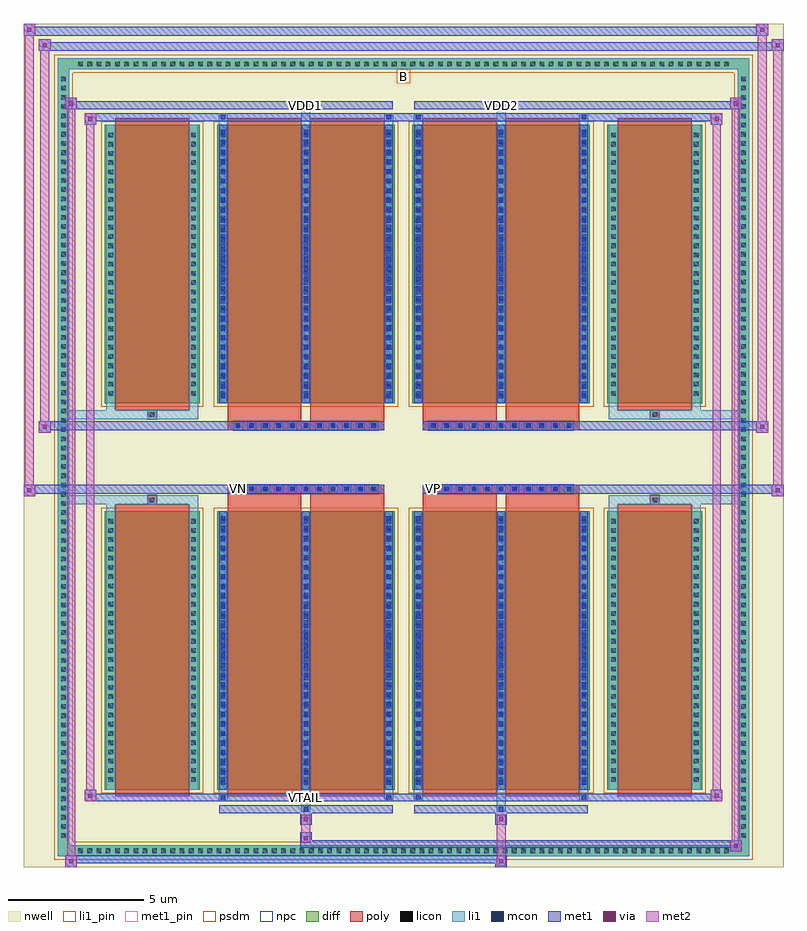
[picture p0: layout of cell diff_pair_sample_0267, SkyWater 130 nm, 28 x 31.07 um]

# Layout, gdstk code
import gdstk
lib = gdstk.Library(unit=1e-6, precision=5e-09)
def R(c, l, rs):  # rectangles x0, y0, x1, y1
    for r in rs: c.add(gdstk.rectangle(r[:2], r[2:], *l))
def A(c, l, x, y, w, h, nx, ny, dx, dy):  # array of equal rectangles
    R(c, l, [(x+i*dx, y+j*dy, x+i*dx+w, y+j*dy+h) for i in range(nx) for j in range(ny)])
def P(c, l, *ps):  # polygons
    for p in ps: c.add(gdstk.Polygon(p, *l))
nwell = (64, 20)
diff = (65, 20)
poly = (66, 20)
licon = (66, 44)
li1_pin = (67, 16)
li1 = (67, 20)
mcon = (67, 44)
met1_pin = (68, 16)
met1 = (68, 20)
via = (68, 44)
met2 = (69, 20)
psdm = (94, 20)
npc = (95, 20)

diff_pair_sample_0267 = lib.new_cell('diff_pair_sample_0267')
R(diff_pair_sample_0267, nwell, [(-14,-15.1,14,15.97), (-11.32,-13.29,-0.01,-0.805), (0.01,-13.29,11.32,-0.805), (-11.32,0.805,-0.01,13.29), (0.01,0.805,11.32,13.29)])
A(diff_pair_sample_0267, diff, -12.105, -14.7, 0.41, 0.41, 71, 2, 0.34, 28.99)
A(diff_pair_sample_0267, diff, -12.73, -14.145, 0.41, 0.41, 1, 83, 0, 0.34)
A(diff_pair_sample_0267, diff, 12.32, -14.145, 0.41, 0.41, 1, 83, 0, 0.34)
R(diff_pair_sample_0267, diff, [(-12.105,-14.7,12.105,-14.29), (-12.73,-14.145,-12.32,14.145), (12.32,-14.145,12.73,14.145), (-11.01,-12.245,-7.51,-1.985), (-6.87,-12.245,-0.32,-1.985), (0.32,-12.245,6.87,-1.985), (7.51,-12.245,11.01,-1.985), (-11.01,1.985,-7.51,12.245), (-6.87,1.985,-0.32,12.245), (0.32,1.985,6.87,12.245), (7.51,1.985,11.01,12.245), (-12.105,14.29,12.105,14.7)])
P(diff_pair_sample_0267, diff, [(12.73,14.7),(-12.73,14.7),(-12.73,-14.29),(-12.32,-14.29),(-12.32,14.29),(12.32,14.29),(12.32,-14.29),(-12.32,-14.29),(-12.73,-14.29),(-12.73,-14.7),(12.73,-14.7)])
A(diff_pair_sample_0267, poly, -6.26, -1.335, 0.33, 0.33, 11, 2, 0.5, 2.34)
A(diff_pair_sample_0267, poly, 0.93, -1.335, 0.33, 0.33, 11, 2, 0.5, 2.34)
R(diff_pair_sample_0267, poly, [(-10.62,-12.495,-7.9,-1.735), (-6.48,-12.495,-3.76,-1.735), (-3.43,-12.495,-0.71,-1.735), (0.71,-12.495,3.43,-1.735), (3.76,-12.495,6.48,-1.735), (7.9,-12.495,10.62,-1.735), (-9.425,-1.735,-9.095,-1.405), (-9.425,-1.735,-9.095,-1.405), (-6.48,-1.735,-3.76,-1.335), (-3.43,-1.735,-0.71,-1.335), (0.71,-1.735,3.43,-1.335), (3.76,-1.735,6.48,-1.335), (9.095,-1.735,9.425,-1.405), (9.095,-1.735,9.425,-1.405), (-6.48,-1.335,-0.71,-1.005), (0.71,-1.335,6.48,-1.005), (-6.48,1.005,-0.71,1.335), (0.71,1.005,6.48,1.335), (-6.48,1.335,-3.76,1.735), (-3.43,1.335,-0.71,1.735), (0.71,1.335,3.43,1.735), (3.76,1.335,6.48,1.735), (-9.425,1.405,-9.095,1.735), (-9.425,1.405,-9.095,1.735), (9.095,1.405,9.425,1.735), (9.095,1.405,9.425,1.735), (-10.62,1.735,-7.9,12.495), (-6.48,1.735,-3.76,12.495), (-3.43,1.735,-0.71,12.495), (0.71,1.735,3.43,12.495), (3.76,1.735,6.48,12.495), (7.9,1.735,10.62,12.495)])
A(diff_pair_sample_0267, licon, -11.985, -14.58, 0.17, 0.17, 71, 2, 0.34, 28.99)
A(diff_pair_sample_0267, licon, -12.61, -14.025, 0.17, 0.17, 1, 83, 0, 0.34)
A(diff_pair_sample_0267, licon, 12.44, -14.025, 0.17, 0.17, 1, 83, 0, 0.34)
A(diff_pair_sample_0267, licon, -10.87, -11.96, 0.17, 0.17, 1, 29, 0, 0.34)
A(diff_pair_sample_0267, licon, -7.82, -11.96, 0.17, 0.17, 1, 29, 0, 0.34)
A(diff_pair_sample_0267, licon, -6.73, -11.96, 0.17, 0.17, 3, 29, 3.05, 0.34)
A(diff_pair_sample_0267, licon, 0.46, -11.96, 0.17, 0.17, 3, 29, 3.05, 0.34)
A(diff_pair_sample_0267, licon, 7.65, -11.96, 0.17, 0.17, 1, 29, 0, 0.34)
A(diff_pair_sample_0267, licon, 10.7, -11.96, 0.17, 0.17, 1, 29, 0, 0.34)
A(diff_pair_sample_0267, licon, -6.18, -1.255, 0.17, 0.17, 11, 2, 0.5, 2.34)
A(diff_pair_sample_0267, licon, 1.01, -1.255, 0.17, 0.17, 11, 2, 0.5, 2.34)
A(diff_pair_sample_0267, licon, -10.87, 2.27, 0.17, 0.17, 1, 29, 0, 0.34)
A(diff_pair_sample_0267, licon, -7.82, 2.27, 0.17, 0.17, 1, 29, 0, 0.34)
A(diff_pair_sample_0267, licon, -6.73, 2.27, 0.17, 0.17, 3, 29, 3.05, 0.34)
A(diff_pair_sample_0267, licon, 0.46, 2.27, 0.17, 0.17, 3, 29, 3.05, 0.34)
A(diff_pair_sample_0267, licon, 7.65, 2.27, 0.17, 0.17, 1, 29, 0, 0.34)
A(diff_pair_sample_0267, licon, 10.7, 2.27, 0.17, 0.17, 1, 29, 0, 0.34)
R(diff_pair_sample_0267, licon, [(-9.345,-1.655,-9.175,-1.485), (9.175,-1.655,9.345,-1.485), (-9.345,1.485,-9.175,1.655), (9.175,1.485,9.345,1.655)])
R(diff_pair_sample_0267, li1_pin, [(-0.25,13.79,0.25,14.29)])
A(diff_pair_sample_0267, li1, -12.065, -14.66, 0.33, 0.33, 71, 2, 0.34, 28.99)
A(diff_pair_sample_0267, li1, -12.69, -14.105, 0.33, 0.33, 1, 83, 0, 0.34)
A(diff_pair_sample_0267, li1, 12.36, -14.105, 0.33, 0.33, 1, 83, 0, 0.34)
A(diff_pair_sample_0267, li1, -6.81, -12.245, 0.33, 10.26, 3, 2, 3.05, 14.23)
A(diff_pair_sample_0267, li1, 0.38, -12.245, 0.33, 10.26, 3, 2, 3.05, 14.23)
A(diff_pair_sample_0267, li1, -6.73, -12.06, 0.17, 0.17, 3, 28, 3.05, 0.36)
A(diff_pair_sample_0267, li1, -6.73, -12.06, 0.17, 9.89, 3, 2, 3.05, 14.23)
A(diff_pair_sample_0267, li1, 0.46, -12.06, 0.17, 0.17, 3, 28, 3.05, 0.36)
A(diff_pair_sample_0267, li1, 0.46, -12.06, 0.17, 9.89, 3, 2, 3.05, 14.23)
A(diff_pair_sample_0267, li1, -10.95, -12.04, 0.33, 0.33, 1, 29, 0, 0.34)
A(diff_pair_sample_0267, li1, -7.9, -12.04, 0.33, 0.33, 1, 29, 0, 0.34)
A(diff_pair_sample_0267, li1, -6.81, -12.04, 0.33, 0.33, 3, 29, 3.05, 0.34)
A(diff_pair_sample_0267, li1, 0.38, -12.04, 0.33, 0.33, 3, 29, 3.05, 0.34)
A(diff_pair_sample_0267, li1, 7.57, -12.04, 0.33, 0.33, 1, 29, 0, 0.34)
A(diff_pair_sample_0267, li1, 10.62, -12.04, 0.33, 0.33, 1, 29, 0, 0.34)
A(diff_pair_sample_0267, li1, -6.26, -1.335, 0.33, 0.33, 11, 2, 0.5, 2.34)
A(diff_pair_sample_0267, li1, 0.93, -1.335, 0.33, 0.33, 11, 2, 0.5, 2.34)
A(diff_pair_sample_0267, li1, -6.73, 2.17, 0.17, 0.17, 3, 28, 3.05, 0.36)
A(diff_pair_sample_0267, li1, 0.46, 2.17, 0.17, 0.17, 3, 28, 3.05, 0.36)
A(diff_pair_sample_0267, li1, -10.95, 2.19, 0.33, 0.33, 1, 29, 0, 0.34)
A(diff_pair_sample_0267, li1, -7.9, 2.19, 0.33, 0.33, 1, 29, 0, 0.34)
A(diff_pair_sample_0267, li1, -6.81, 2.19, 0.33, 0.33, 3, 29, 3.05, 0.34)
A(diff_pair_sample_0267, li1, 0.38, 2.19, 0.33, 0.33, 3, 29, 3.05, 0.34)
A(diff_pair_sample_0267, li1, 7.57, 2.19, 0.33, 0.33, 1, 29, 0, 0.34)
A(diff_pair_sample_0267, li1, 10.62, 2.19, 0.33, 0.33, 1, 29, 0, 0.34)
R(diff_pair_sample_0267, li1, [(-12.73,-14.7,-12.32,-14.29), (-12.73,-14.7,-12.32,-14.29), (-12.32,-14.7,12.32,-14.29), (12.32,-14.7,12.73,-14.29), (12.32,-14.7,12.73,-14.29), (-12.73,-14.29,-12.32,14.29), (12.32,-14.29,12.73,14.29), (-3.76,-13.05,-3.43,-12.245), (-3.68,-13.05,-3.51,-12.88), (3.43,-13.05,3.76,-12.245), (3.51,-13.05,3.68,-12.88), (-6.81,-12.62,-6.48,-12.245), (-6.73,-12.62,-6.56,-12.45), (-0.71,-12.62,-0.38,-12.245), (-0.63,-12.62,-0.46,-12.45), (0.38,-12.62,0.71,-12.245), (0.46,-12.62,0.63,-12.45), (6.48,-12.62,6.81,-12.245), (6.56,-12.62,6.73,-12.45), (-10.95,-12.245,-10.62,-1.985), (-7.9,-12.245,-7.57,-1.985), (7.57,-12.245,7.9,-1.985), (10.62,-12.245,10.95,-1.985), (-10.95,-1.985,-10.62,-1.405), (-7.9,-1.985,-7.57,-1.405), (7.57,-1.985,7.9,-1.405), (10.62,-1.985,10.95,-1.405), (-12.73,-1.735,-9.425,-1.405), (-10.95,-1.735,-9.425,-1.405), (-9.425,-1.735,-9.095,-1.405), (-9.095,-1.735,-7.57,-1.405), (7.57,-1.735,9.095,-1.405), (9.095,-1.735,9.425,-1.405), (9.095,-1.735,12.73,-1.405), (9.425,-1.735,10.95,-1.405), (-12.73,1.405,-9.425,1.735), (-10.95,1.405,-9.425,1.735), (-10.95,1.405,-10.62,1.985), (-9.425,1.405,-9.095,1.735), (-9.095,1.405,-7.57,1.735), (-7.9,1.405,-7.57,1.985), (7.57,1.405,9.095,1.735), (7.57,1.405,7.9,1.985), (9.095,1.405,9.425,1.735), (9.095,1.405,12.73,1.735), (9.425,1.405,10.95,1.735), (10.62,1.405,10.95,1.985), (-10.95,1.985,-10.62,12.245), (-7.9,1.985,-7.57,12.245), (7.57,1.985,7.9,12.245), (10.62,1.985,10.95,12.245), (-6.81,12.245,-6.48,12.62), (-3.76,12.245,-3.43,13.05), (-0.71,12.245,-0.38,12.62), (0.38,12.245,0.71,12.62), (3.43,12.245,3.76,13.05), (6.48,12.245,6.81,12.62), (-6.73,12.45,-6.56,12.62), (-0.63,12.45,-0.46,12.62), (0.46,12.45,0.63,12.62), (6.56,12.45,6.73,12.62), (-3.68,12.88,-3.51,13.05), (3.51,12.88,3.68,13.05), (-12.73,14.29,-12.32,14.7), (-12.73,14.29,-12.32,14.7), (-12.32,14.29,12.32,14.7), (12.32,14.29,12.73,14.7), (12.32,14.29,12.73,14.7)])
A(diff_pair_sample_0267, mcon, -6.73, -12.06, 0.17, 0.17, 3, 28, 3.05, 0.36)
A(diff_pair_sample_0267, mcon, 0.46, -12.06, 0.17, 0.17, 3, 28, 3.05, 0.36)
A(diff_pair_sample_0267, mcon, -6.18, -1.255, 0.17, 0.17, 11, 2, 0.5, 2.34)
A(diff_pair_sample_0267, mcon, 1.01, -1.255, 0.17, 0.17, 11, 2, 0.5, 2.34)
A(diff_pair_sample_0267, mcon, -6.73, 2.17, 0.17, 0.17, 3, 28, 3.05, 0.36)
A(diff_pair_sample_0267, mcon, 0.46, 2.17, 0.17, 0.17, 3, 28, 3.05, 0.36)
R(diff_pair_sample_0267, mcon, [(-3.68,-13.05,-3.51,-12.88), (3.51,-13.05,3.68,-12.88), (-6.73,-12.62,-6.56,-12.45), (-0.63,-12.62,-0.46,-12.45), (0.46,-12.62,0.63,-12.45), (6.56,-12.62,6.73,-12.45), (-6.73,12.45,-6.56,12.62), (-0.63,12.45,-0.46,12.62), (0.46,12.45,0.63,12.62), (6.56,12.45,6.73,12.62), (-3.68,12.88,-3.51,13.05), (3.51,12.88,3.68,13.05)])
R(diff_pair_sample_0267, met1_pin, [(-3.73,-12.66,-3.46,-12.39), (-6.23,-1.295,-5.96,-1.025), (0.96,-1.295,1.23,-1.025), (-3.73,12.84,-3.46,13.11), (3.46,12.84,3.73,13.11)])
A(diff_pair_sample_0267, met1, -6.79, -12.245, 0.29, 10.26, 3, 2, 3.05, 14.23)
A(diff_pair_sample_0267, met1, 0.4, -12.245, 0.29, 10.26, 3, 2, 3.05, 14.23)
A(diff_pair_sample_0267, met1, -6.79, -12.12, 0.29, 0.29, 3, 28, 3.05, 0.36)
A(diff_pair_sample_0267, met1, 0.4, -12.12, 0.29, 0.29, 3, 28, 3.05, 0.36)
A(diff_pair_sample_0267, met1, -6.24, -1.315, 0.29, 0.29, 11, 2, 0.5, 2.34)
A(diff_pair_sample_0267, met1, 0.95, -1.315, 0.29, 0.29, 11, 2, 0.5, 2.34)
A(diff_pair_sample_0267, met1, -6.79, 2.11, 0.29, 0.29, 3, 28, 3.05, 0.36)
A(diff_pair_sample_0267, met1, 0.4, 2.11, 0.29, 0.29, 3, 28, 3.05, 0.36)
R(diff_pair_sample_0267, met1, [(-12.46,-15.1,-12.03,-14.67), (3.38,-15.1,3.81,-14.67), (-12.46,-14.96,3.81,-14.67), (12.03,-14.53,12.46,-14.1), (-3.81,-14.39,12.46,-14.1), (-3.81,-14.25,-3.38,-13.82), (-3.81,-13.54,-3.38,-13.11), (3.38,-13.54,3.81,-13.11), (-6.79,-13.11,-0.4,-12.82), (-3.74,-13.11,-3.45,-12.82), (0.4,-13.11,6.79,-12.82), (3.45,-13.11,3.74,-12.82), (-11.75,-12.68,-11.32,-12.25), (-11.75,-12.68,-6.79,-12.39), (-6.79,-12.68,-6.5,-12.39), (-6.79,-12.68,-0.4,-12.39), (-0.69,-12.68,-0.4,-12.39), (-0.4,-12.68,0.4,-12.39), (0.4,-12.68,0.69,-12.39), (0.4,-12.68,6.79,-12.39), (6.5,-12.68,6.79,-12.39), (6.79,-12.68,11.75,-12.39), (11.32,-12.68,11.75,-12.25), (-14,-1.435,-13.57,-1.005), (13.57,-1.435,14,-1.005), (-14,-1.335,-0.71,-1.005), (-6.48,-1.335,-0.71,-1.005), (0.71,-1.335,6.48,-1.005), (0.71,-1.335,14,-1.005), (-13.43,0.905,-13,1.335), (13,0.905,13.43,1.335), (-13.43,1.005,-6.48,1.335), (-6.48,1.005,-0.71,1.335), (0.71,1.005,6.48,1.335), (6.48,1.005,13.43,1.335), (-11.75,12.25,-11.32,12.68), (11.32,12.25,11.75,12.68), (-11.75,12.39,-6.79,12.68), (-6.79,12.39,-6.5,12.68), (-6.79,12.39,-0.4,12.68), (-0.69,12.39,-0.4,12.68), (-0.4,12.39,0.4,12.68), (0.4,12.39,0.69,12.68), (0.4,12.39,6.79,12.68), (6.5,12.39,6.79,12.68), (6.79,12.39,11.75,12.68), (-12.46,12.82,-12.03,13.25), (-12.46,12.82,-6.79,13.11), (-6.79,12.82,-0.4,13.11), (-3.74,12.82,-3.45,13.11), (0.4,12.82,6.79,13.11), (3.45,12.82,3.74,13.11), (6.79,12.82,12.46,13.11), (12.03,12.82,12.46,13.25), (-13.43,14.97,-13,15.4), (-13.43,14.97,-11.32,15.3), (-11.32,14.97,11.32,15.3), (11.32,14.97,14,15.3), (13.57,14.97,14,15.4), (-14,15.54,-13.57,15.97), (-14,15.54,-11.32,15.87), (-11.32,15.54,11.32,15.87), (11.32,15.54,13.43,15.87), (13,15.54,13.43,15.97)])
R(diff_pair_sample_0267, via, [(-12.32,-14.96,-12.17,-14.81), (3.52,-14.96,3.67,-14.81), (12.17,-14.39,12.32,-14.24), (-3.67,-14.11,-3.52,-13.96), (-3.67,-13.4,-3.52,-13.25), (3.52,-13.4,3.67,-13.25), (-11.61,-12.54,-11.46,-12.39), (11.46,-12.54,11.61,-12.39), (-13.86,-1.295,-13.71,-1.145), (13.71,-1.295,13.86,-1.145), (-13.29,1.045,-13.14,1.195), (13.14,1.045,13.29,1.195), (-11.61,12.39,-11.46,12.54), (11.46,12.39,11.61,12.54), (-12.32,12.96,-12.17,13.11), (12.17,12.96,12.32,13.11), (-13.29,15.11,-13.14,15.26), (13.71,15.11,13.86,15.26), (-13.86,15.68,-13.71,15.83), (13.14,15.68,13.29,15.83)])
R(diff_pair_sample_0267, met2, [(-12.46,-15.1,-12.03,-14.67), (-12.39,-15.1,-12.1,13.25), (-12.1,-15.1,-12.03,-14.67), (-12.41,-15.05,-12.08,-14.72), (3.43,-15.05,3.76,-14.72), (3.43,-14.72,3.76,-13.49), (12.03,-14.53,12.46,-14.1), (12.1,-14.53,12.39,13.25), (12.39,-14.53,12.46,-14.1), (12.08,-14.48,12.41,-14.15), (-3.76,-14.2,-3.43,-13.87), (-3.76,-13.87,-3.43,-13.49), (-3.76,-13.49,-3.43,-13.16), (3.43,-13.49,3.76,-13.16), (-11.75,-12.68,-11.32,-12.25), (-11.68,-12.68,-11.39,12.68), (-11.39,-12.68,-11.32,-12.25), (11.32,-12.68,11.75,-12.25), (11.39,-12.68,11.68,12.68), (11.68,-12.68,11.75,-12.25), (-11.7,-12.63,-11.37,-12.3), (11.37,-12.63,11.7,-12.3), (-14,-1.435,-13.57,-1.005), (-13.95,-1.435,-13.62,15.97), (-13.62,-1.435,-13.57,-1.005), (13.57,-1.435,14,-1.005), (13.62,-1.435,13.95,15.4), (13.95,-1.435,14,-1.005), (-13.95,-1.385,-13.62,-1.055), (13.62,-1.385,13.95,-1.055), (-13.43,0.905,-13,1.335), (-13.38,0.905,-13.05,15.4), (-13.05,0.905,-13,1.335), (13,0.905,13.43,1.335), (13.05,0.905,13.38,15.97), (13.38,0.905,13.43,1.335), (-13.38,0.955,-13.05,1.285), (13.05,0.955,13.38,1.285), (-11.75,12.25,-11.32,12.68), (-11.39,12.25,-11.32,12.68), (11.32,12.25,11.75,12.68), (11.68,12.25,11.75,12.68), (-11.7,12.3,-11.37,12.63), (11.37,12.3,11.7,12.63), (-12.46,12.82,-12.03,13.25), (-12.1,12.82,-12.03,13.25), (12.03,12.82,12.46,13.25), (12.39,12.82,12.46,13.25), (-12.41,12.87,-12.08,13.2), (12.08,12.87,12.41,13.2), (-13.43,14.97,-13,15.4), (-13.05,14.97,-13,15.4), (13.57,14.97,14,15.4), (13.95,14.97,14,15.4), (-13.38,15.02,-13.05,15.35), (13.62,15.02,13.95,15.35), (-14,15.54,-13.57,15.97), (-13.62,15.54,-13.57,15.97), (13,15.54,13.43,15.97), (13.38,15.54,13.43,15.97), (-13.95,15.59,-13.62,15.92), (13.05,15.59,13.38,15.92)])
R(diff_pair_sample_0267, psdm, [(-11.14,-12.375,-7.38,-1.855), (-7,-12.375,-0.19,-1.855), (0.19,-12.375,7,-1.855), (7.38,-12.375,11.14,-1.855), (-11.14,1.855,-7.38,12.375), (-7,1.855,-0.19,12.375), (0.19,1.855,7,12.375), (7.38,1.855,11.14,12.375)])
P(diff_pair_sample_0267, psdm, [(12.86,14.83),(-12.86,14.83),(-12.86,-14.16),(-12.19,-14.16),(-12.19,14.16),(12.19,14.16),(12.19,-14.16),(-12.19,-14.16),(-12.86,-14.16),(-12.86,-14.83),(12.86,-14.83)])
A(diff_pair_sample_0267, npc, -6.28, -1.355, 0.37, 0.37, 11, 2, 0.5, 2.34)
A(diff_pair_sample_0267, npc, 0.91, -1.355, 0.37, 0.37, 11, 2, 0.5, 2.34)
R(diff_pair_sample_0267, npc, [(-9.445,-1.755,-9.075,-1.385), (9.075,-1.755,9.445,-1.385), (-6.28,-1.355,-5.41,-0.985), (-6.28,-1.355,-5.41,-0.985), (-5.78,-1.355,-4.91,-0.985), (-5.78,-1.355,-4.91,-0.985), (-5.28,-1.355,-4.41,-0.985), (-5.28,-1.355,-4.41,-0.985), (-4.78,-1.355,-3.91,-0.985), (-4.78,-1.355,-3.91,-0.985), (-4.28,-1.355,-3.41,-0.985), (-4.28,-1.355,-3.41,-0.985), (-3.78,-1.355,-2.91,-0.985), (-3.78,-1.355,-2.91,-0.985), (-3.28,-1.355,-2.41,-0.985), (-3.28,-1.355,-2.41,-0.985), (-2.78,-1.355,-1.91,-0.985), (-2.78,-1.355,-1.91,-0.985), (-2.28,-1.355,-1.41,-0.985), (-2.28,-1.355,-1.41,-0.985), (-1.78,-1.355,-0.91,-0.985), (-1.78,-1.355,-0.91,-0.985), (0.91,-1.355,1.78,-0.985), (0.91,-1.355,1.78,-0.985), (1.41,-1.355,2.28,-0.985), (1.41,-1.355,2.28,-0.985), (1.91,-1.355,2.78,-0.985), (1.91,-1.355,2.78,-0.985), (2.41,-1.355,3.28,-0.985), (2.41,-1.355,3.28,-0.985), (2.91,-1.355,3.78,-0.985), (2.91,-1.355,3.78,-0.985), (3.41,-1.355,4.28,-0.985), (3.41,-1.355,4.28,-0.985), (3.91,-1.355,4.78,-0.985), (3.91,-1.355,4.78,-0.985), (4.41,-1.355,5.28,-0.985), (4.41,-1.355,5.28,-0.985), (4.91,-1.355,5.78,-0.985), (4.91,-1.355,5.78,-0.985), (5.41,-1.355,6.28,-0.985), (5.41,-1.355,6.28,-0.985), (-6.28,0.985,-5.41,1.355), (-6.28,0.985,-5.41,1.355), (-5.78,0.985,-4.91,1.355), (-5.78,0.985,-4.91,1.355), (-5.28,0.985,-4.41,1.355), (-5.28,0.985,-4.41,1.355), (-4.78,0.985,-3.91,1.355), (-4.78,0.985,-3.91,1.355), (-4.28,0.985,-3.41,1.355), (-4.28,0.985,-3.41,1.355), (-3.78,0.985,-2.91,1.355), (-3.78,0.985,-2.91,1.355), (-3.28,0.985,-2.41,1.355), (-3.28,0.985,-2.41,1.355), (-2.78,0.985,-1.91,1.355), (-2.78,0.985,-1.91,1.355), (-2.28,0.985,-1.41,1.355), (-2.28,0.985,-1.41,1.355), (-1.78,0.985,-0.91,1.355), (-1.78,0.985,-0.91,1.355), (0.91,0.985,1.78,1.355), (0.91,0.985,1.78,1.355), (1.41,0.985,2.28,1.355), (1.41,0.985,2.28,1.355), (1.91,0.985,2.78,1.355), (1.91,0.985,2.78,1.355), (2.41,0.985,3.28,1.355), (2.41,0.985,3.28,1.355), (2.91,0.985,3.78,1.355), (2.91,0.985,3.78,1.355), (3.41,0.985,4.28,1.355), (3.41,0.985,4.28,1.355), (3.91,0.985,4.78,1.355), (3.91,0.985,4.78,1.355), (4.41,0.985,5.28,1.355), (4.41,0.985,5.28,1.355), (4.91,0.985,5.78,1.355), (4.91,0.985,5.78,1.355), (5.41,0.985,6.28,1.355), (5.41,0.985,6.28,1.355), (-9.445,1.385,-9.075,1.755), (9.075,1.385,9.445,1.755)])
diff_pair_sample_0267.add(gdstk.Label('VTAIL', (-3.595,-12.525), layer=68, texttype=5))
diff_pair_sample_0267.add(gdstk.Label('VN', (-6.095,-1.16), layer=68, texttype=5))
diff_pair_sample_0267.add(gdstk.Label('VP', (1.095,-1.16), layer=68, texttype=5))
diff_pair_sample_0267.add(gdstk.Label('B', (0,14.04), layer=67, texttype=5))
diff_pair_sample_0267.add(gdstk.Label('VDD2', (3.595,12.975), layer=68, texttype=5))
diff_pair_sample_0267.add(gdstk.Label('VDD1', (-3.595,12.975), layer=68, texttype=5))

lib.write_gds('diff_pair_sample_0267.gds')
